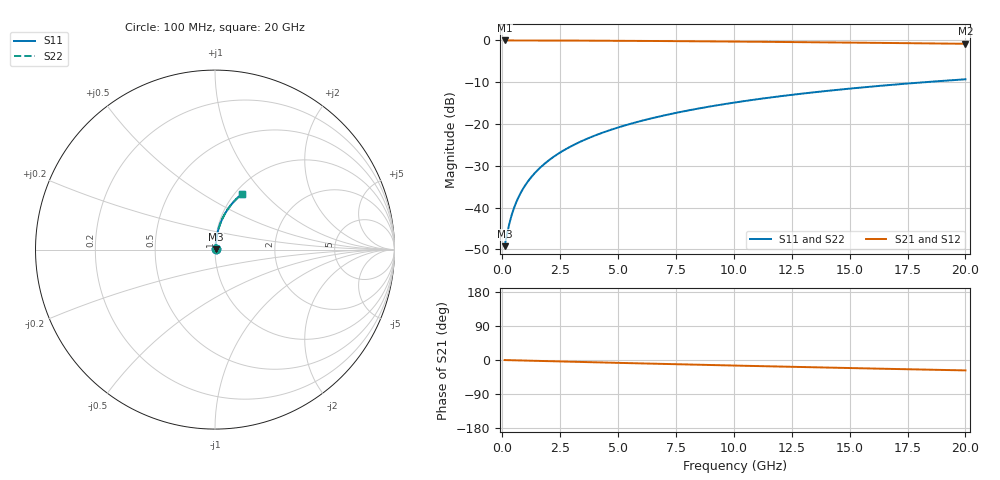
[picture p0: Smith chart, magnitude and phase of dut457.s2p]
! Touchstone file exported from HFSS 2024.1.0
!  File:  C:/UserFiles/LocalFiles/RDL_TSV_Batchsim/temp_RDL_top_457_1779677375.aedt
!  Generated:  10:52:04 AM May 25, 2026
!  Design:  RDL_top
!  Project:  temp_RDL_top_457_1779677375
!  Setup:  Setup1
!  Solution:  Sweep
! Variables:
!  dtsv = 10.80580581um
!  hbump = 3um
!  htsv = 91.61um
!  ldown = 100um
!  lrdl = 319.39um
!  p = 40
!  p1 = 47.13um
!  rhole = 1um
!  t = 450um
!  tdown = 3.915915916um
!  trdl = 3.56um
!  wdown = 15.38538539um
!  wrdl = 11.42um
# GHz S MA R 50.000000
! Terminal data exported
! Port[1] = Box2_T1
! Port[2] = Box2_T2
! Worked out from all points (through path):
!   200 points, 100 MHz to 20 GHz, reference 50 ohm
!   highest |S21| = -0.03 dB at 100 MHz (marker M1); lowest = -0.8 dB at 20 GHz (marker M2)
!   group delay of S21, straight-line fit = 3.81 ps
!   lowest |S11| = -49.2 dB at 100 MHz (marker M3), VSWR 1.01, Z = 50.3 + j0.189 ohm
!   |S11| at or under -10 dB: start of sweep to 18.27 GHz
!   |S22| runs from -49.2 to -9.3 dB; largest |S21 - S12| = 2.6e-15
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0.1  0.003449 32.9  0.9971 -0.2  0.9971 -0.2  0.003449 32.9
! Gamma 0 0 0 0
! Port Impedance 50 0 50 0
0.2  0.004755 51.9  0.9971 -0.3  0.9971 -0.3  0.004755 51.9
0.3  0.006344 61.8  0.997 -0.5  0.997 -0.5  0.006344 61.8
0.4  0.008036 67.6  0.9969 -0.6  0.9969 -0.6  0.008036 67.6
0.5  0.009769 71.2  0.9969 -0.8  0.9969 -0.8  0.009769 71.2
0.6  0.01152 73.7  0.9968 -0.9  0.9968 -0.9  0.01152 73.7
0.8  0.01505 77.0  0.9966 -1.2  0.9966 -1.2  0.01505 77.0
1.1  0.02039 79.6  0.9963 -1.7  0.9963 -1.7  0.02039 79.6
1.5  0.02755 81.4  0.9959 -2.3  0.9959 -2.3  0.02755 81.4
1.8  0.03294 82.1  0.9955 -2.8  0.9955 -2.8  0.03294 82.1
2.1  0.03834 82.5  0.9951 -3.2  0.9951 -3.2  0.03834 82.5
2.7  0.04917 82.9  0.9941 -4.1  0.9941 -4.1  0.04917 82.9
3.5  0.06361 82.8  0.9923 -5.3  0.9923 -5.3  0.06361 82.8
4.2  0.07626 82.4  0.9905 -6.4  0.9905 -6.4  0.07626 82.4
5  0.0907 81.8  0.9881 -7.5  0.9881 -7.5  0.0907 81.8
5.9  0.1069 81.0  0.985 -8.9  0.985 -8.9  0.1069 81.0
6.8  0.1231 80.1  0.9816 -10.2  0.9816 -10.2  0.1231 80.0
8.3  0.1499 78.4  0.9753 -12.3  0.9753 -12.3  0.1499 78.4
10.1  0.1816 76.3  0.9668 -14.8  0.9668 -14.8  0.1816 76.3
13.4  0.2381 72.3  0.9494 -19.2  0.9494 -19.2  0.2381 72.3
16.7  0.2918 68.2  0.9302 -23.4  0.9302 -23.4  0.2918 68.2
20  0.3421 64.3  0.9097 -27.5  0.9097 -27.5  0.3421 64.3
